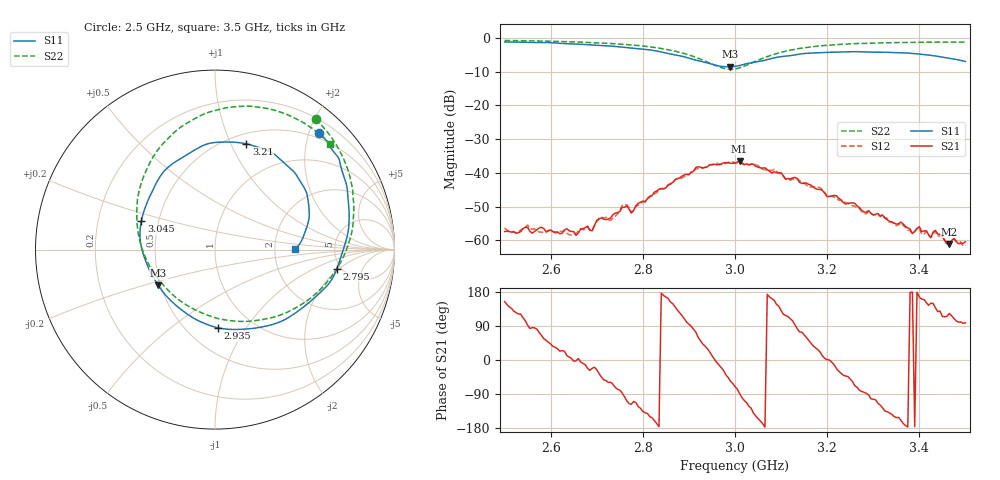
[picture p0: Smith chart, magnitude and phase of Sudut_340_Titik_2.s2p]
# Hz S RI R 50
! CMT, C1220, 16058040, 17.2.0/1
! Date: 15/08/2018 10:53:35
! Data: Format (Calibration Info)
! Freq  S11: Re/Im (F2)  S21: Re/Im (F2)  S12: Re/Im (F2)  S22: Re/Im (F2)
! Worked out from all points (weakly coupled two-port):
!   201 points, 2.5 GHz to 3.5 GHz, reference 50 ohm
!   highest |S21| = -36.49 dB at 3.01 GHz (marker M1); lowest = -61.1 dB at 3.465 GHz (marker M2)
!   lowest |S11| = -8.5 dB at 2.99 GHz (marker M3), VSWR 2.19, Z = 24.3 - j11.2 ohm
!   |S11| at or under -10 dB: nowhere
!   |S22| runs from -9.2 to -0.7 dB; largest |S21 - S12| = 0.001
!   S11 on the Smith chart (normalised r, x): 2.5 GHz: 0.40, +2.17; 2.795 GHz: 4.62, -1.86; 2.935 GHz: 0.70, -0.75; 3.045 GHz: 0.40, +0.16; 3.21 GHz: 0.60, +1.15; 3.5 GHz: 2.62, +0.03
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2.5e9  0.5796 0.6523  -0.00122 0.000588  -0.00138 0.000669  0.561 0.7274
2.67e9  0.7388 0.3171  0.00147 -0.000235  0.0014 -0.000346  0.7358 0.4568
2.73e9  0.7462 0.1388  0.00112 -0.00184  0.000955 -0.00174  0.769 0.3061
2.755e9  0.7293 0.0465  0.000167 -0.00308  0.000361 -0.00327  0.7736 0.2323
2.775e9  0.708 -0.022  -0.00114 -0.00227  -0.00126 -0.00228  0.7708 0.1662
2.795e9  0.6793 -0.1063  -0.00225 -0.00291  -0.00214 -0.00277  0.7617 0.0953
2.835e9  0.5805 -0.2449  -0.00572 -0.000396  -0.00552 -0.000599  0.7038 -0.0631
2.935e9  0.0149 -0.4355  0.00967 0.0072  0.00944 0.00762  0.2246 -0.3955
2.99e9  -0.3164 -0.1993  0.00789 -0.0115  0.00853 -0.0119  -0.2122 -0.2723
3e9  -0.3545 -0.1357  0.00479 -0.0132  0.00416 -0.0134  -0.2765 -0.2105
3.01e9  -0.3848 -0.0669  0.000416 -0.015  0.000424 -0.0142  -0.3321 -0.1426
3.045e9  -0.4099 0.1599  -0.0105 -0.00668  -0.011 -0.00723  -0.4328 0.1303
3.1e9  -0.2586 0.4613  -0.00652 0.00766  -0.00595 0.0077  -0.3544 0.5004
3.17e9  0.0239 0.5985  0.00493 0.00368  0.00467 0.00409  -0.0959 0.7387
3.21e9  0.1739 0.5901  0.00455 -0.000464  0.00442 -0.000809  0.0496 0.7874
3.335e9  0.4666 0.395  -0.00146 -0.00125  -0.00146 -0.00117  0.3888 0.7573
3.385e9  0.5168 0.2848  -0.00126 1.93e-05  -0.00126 6.13e-06  0.4827 0.7131
3.4e9  0.5226 0.2448  -0.00156 0.000386  -0.00143 0.000496  0.5063 0.6983
3.425e9  0.5238 0.1754  -0.000946 0.000548  -0.000943 0.000589  0.5451 0.6731
3.435e9  0.5194 0.1515  -0.00104 0.000954  -0.000941 0.000977  0.5597 0.6609
3.465e9  0.4938 0.0758  -0.000479 0.000743  -0.000456 0.000738  0.6 0.6286
3.5e9  0.4483 0.00388  -0.000135 0.000946  -9.31e-05 0.000848  0.6415 0.5872
